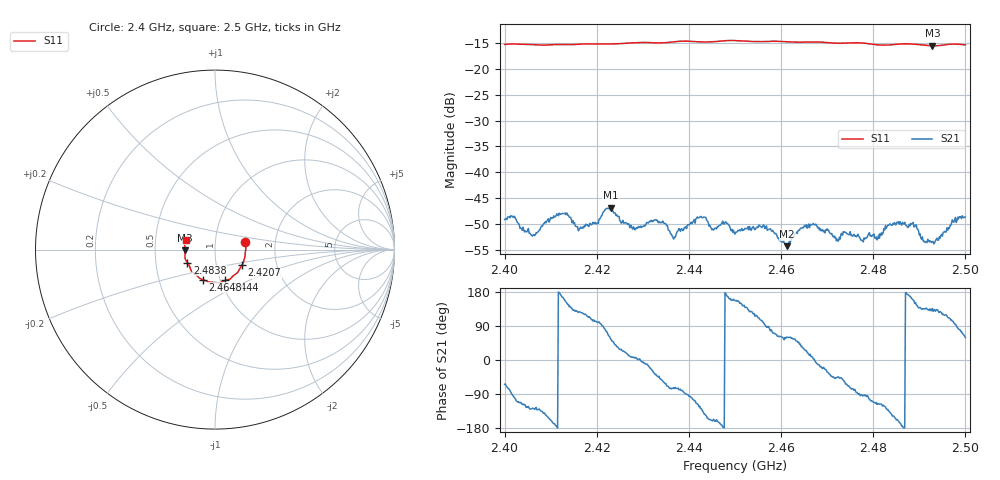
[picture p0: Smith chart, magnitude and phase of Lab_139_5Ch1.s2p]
# Hz S RI R 50
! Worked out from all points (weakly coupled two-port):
!   601 points, 2.4 GHz to 2.5 GHz, reference 50 ohm
!   highest |S21| = -46.83 dB at 2.423 GHz (marker M1); lowest = -54.3 dB at 2.4613 GHz (marker M2)
!   lowest |S11| = -15.6 dB at 2.4928 GHz (marker M3), VSWR 1.40, Z = 35.7 - j0.334 ohm
!   |S11| at or under -10 dB: start of sweep to end of sweep
!   S12 and S22 are empty: the file has one direction only
!   S11 on the Smith chart (normalised r, x): 2.4 GHz: 1.39, +0.12; 2.4207 GHz: 1.33, -0.24; 2.444 GHz: 1.06, -0.37; 2.4648 GHz: 0.83, -0.29; 2.4838 GHz: 0.73, -0.11; 2.5 GHz: 0.72, +0.08
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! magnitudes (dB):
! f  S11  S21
! 2.4 GHz  -15.3  -49.1
! 2.4062 GHz  -15.3  -52.1
! 2.413 GHz  -15.3  -47.9
! 2.4167 GHz  -15.2  -50.8
! 2.4207 GHz  -15.2  -49.0
! 2.423 GHz  -15.2  -46.8
! 2.4282 GHz  -15.0  -51.0
! 2.4333 GHz  -15.0  -49.7
! 2.4367 GHz  -14.8  -52.9
! 2.442 GHz  -14.8  -48.8
! 2.444 GHz  -14.8  -49.4
! 2.45 GHz  -14.6  -51.9
! 2.4563 GHz  -14.8  -50.4
! 2.4613 GHz  -14.8  -54.3
! 2.4648 GHz  -14.9  -50.8
! 2.4667 GHz  -14.8  -50.1
! 2.4777 GHz  -15.0  -53.2
! 2.4833 GHz  -15.4  -50.2
! 2.4838 GHz  -15.4  -50.1
! 2.4888 GHz  -15.3  -50.5
! 2.4928 GHz  -15.6  -53.4
! 2.5 GHz  -15.4  -48.6
